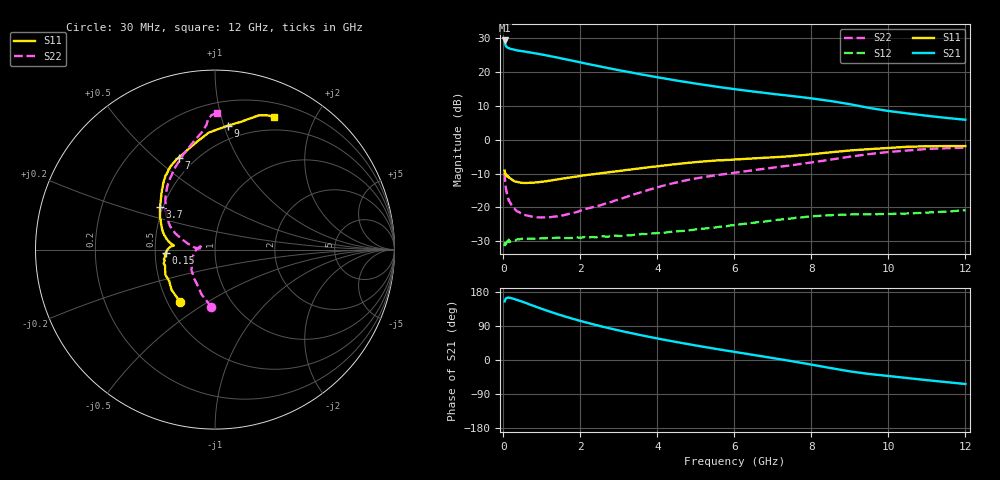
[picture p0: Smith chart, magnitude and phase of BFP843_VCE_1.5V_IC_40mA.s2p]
! Infineon Technologies  Discrete & RF Semiconductors
! BFP843
! VCE =  1.5 V,  IC =  40 mA
! Common Emitter S-Parameters:  Aug 2013
# GHz  S  MA  R  50
!  f  S11  S21  S12  S22
! GHz  MAG  ANG  MAG  ANG  MAG  ANG  MAG  ANG
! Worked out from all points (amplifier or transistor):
!   103 points, 30 MHz to 12 GHz, reference 50 ohm
!   highest |S21| = 29.4 dB at 30 MHz (marker M1)
!   |S21| within 3 dB of that: start of sweep to 387.5 MHz
!   unconditionally stable (mu >= 1): 83.88 MHz to 10.39 GHz
!   at 400 MHz: K = 1.04, MAG = 26.7 dB, |S12| = -29.4 dB
!   at 3.7 GHz: K = 1.36, MAG = 19.9 dB, |S12| = -27.9 dB
!   at 12 GHz: K = 0.84, MSG = 13.4 dB, |S12| = -20.9 dB
!   S11 on the Smith chart (normalised r, x): 30 MHz: 0.58, -0.39; 150 MHz: 0.57, -0.02; 3.7 GHz: 0.48, +0.27; 7 GHz: 0.41, +0.60; 9 GHz: 0.39, +1.03; 12 GHz: 0.35, +1.48
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0.03  0.3501 -123.6  29.42 154.8  0.0267 21.0  0.321 -93.5
0.04  0.3303 -137.2  26.84 157.2  0.0296 17.7  0.2608 -106.6
0.05  0.3098 -145.3  25.51 160.4  0.0281 13.6  0.218 -117.2
0.07  0.3 -157.9  23.94 162.8  0.0291 13.6  0.1809 -133.9
0.1  0.2863 -167.8  23.16 164.3  0.0283 16.3  0.1502 -149.9
0.15  0.275 -175.9  22.51 164.3  0.0306 8.5  0.1248 -166.1
0.3  0.2408 175.6  21.33 160.4  0.032 7.8  0.094 173.5
0.7  0.2311 174.2  19.5 145.8  0.0346 5.3  0.074 163.8
1.1  0.2433 172.8  17.77 131.3  0.0351 5.9  0.0715 167.3
1.6  0.2699 168.6  15.58 114.8  0.0352 7.3  0.0775 173.3
2.1  0.2977 163.2  13.54 100.2  0.0364 8.3  0.0934 176.2
2.8  0.3344 154.1  11.24 82.6  0.0376 11.0  0.1202 173.2
3.2  0.3576 149.0  10.16 73.4  0.0386 12.9  0.1434 169.2
3.7  0.3865 142.1  9.012 62.9  0.0402 14.8  0.1763 164.4
4.1  0.4119 137.1  8.207 54.9  0.0418 15.7  0.2057 161.0
5  0.4676 128.1  6.763 38.2  0.0474 17.2  0.2676 154.3
6.1  0.5147 120.3  5.512 19.8  0.0556 16.7  0.3308 144.5
7  0.55 111.6  4.763 5.0  0.0639 12.9  0.3869 135.6
8.5  0.6529 93.0  3.74 -21.3  0.0767 2.0  0.5081 116.0
9  0.6944 84.1  3.358 -30.0  0.0787 -2.6  0.5618 108.0
10.5  0.7882 71.8  2.453 -47.7  0.0813 -10.1  0.6948 94.0
12  0.8063 65.9  1.978 -63.4  0.0905 -17.6  0.7626 89.0
